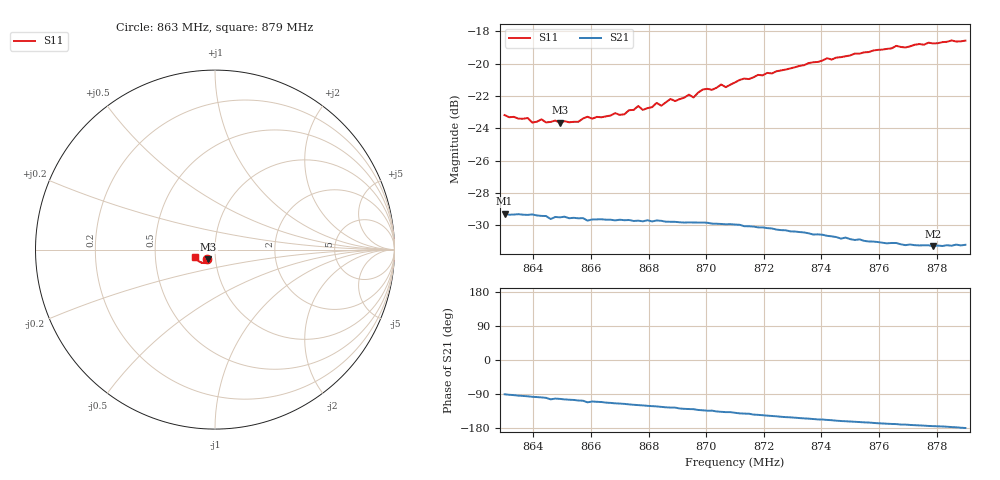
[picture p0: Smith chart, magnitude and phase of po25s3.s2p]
# HZ S RI R 50
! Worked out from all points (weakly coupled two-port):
!   101 points, 863 MHz to 879 MHz, reference 50 ohm
!   highest |S21| = -29.28 dB at 863 MHz (marker M1); lowest = -31.3 dB at 877.88 MHz (marker M2)
!   lowest |S11| = -23.7 dB at 864.92 MHz (marker M3), VSWR 1.14, Z = 46.2 - j5.08 ohm
!   |S11| at or under -10 dB: start of sweep to end of sweep
!   S12 and S22 are empty: the file has one direction only
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8.63e8  -0.0443 -0.0533  -0.000295 -0.0343  0 0  0 0
8.638e8  -0.0408 -0.0543  -0.00343 -0.0339  0 0  0 0
8.6396e8  -0.038 -0.0537  -0.00424 -0.0339  0 0  0 0
8.6428e8  -0.0383 -0.0553  -0.00514 -0.0334  0 0  0 0
8.6492e8  -0.0363 -0.0547  -0.00731 -0.0327  0 0  0 0
8.6572e8  -0.034 -0.0585  -0.00998 -0.0318  0 0  0 0
8.6716e8  -0.0339 -0.0609  -0.0143 -0.0295  0 0  0 0
8.6764e8  -0.0365 -0.0644  -0.0159 -0.0286  0 0  0 0
8.678e8  -0.0358 -0.0624  -0.0162 -0.0282  0 0  0 0
8.6828e8  -0.0365 -0.0662  -0.0176 -0.0276  0 0  0 0
8.6844e8  -0.036 -0.0648  -0.0181 -0.0272  0 0  0 0
8.6876e8  -0.0376 -0.0681  -0.0189 -0.0264  0 0  0 0
8.6892e8  -0.0362 -0.0675  -0.0189 -0.0264  0 0  0 0
8.694e8  -0.0398 -0.0696  -0.0205 -0.025  0 0  0 0
8.6956e8  -0.0389 -0.0683  -0.0207 -0.0248  0 0  0 0
8.6988e8  -0.0428 -0.0713  -0.0219 -0.0237  0 0  0 0
8.7068e8  -0.044 -0.0723  -0.0235 -0.0215  0 0  0 0
8.71e8  -0.0473 -0.0736  -0.0241 -0.0208  0 0  0 0
8.7372e8  -0.0676 -0.0751  -0.027 -0.0122  0 0  0 0
8.7644e8  -0.0924 -0.0624  -0.0274 -0.00544  0 0  0 0
8.7788e8  -0.104 -0.0501  -0.0271 -0.00261  0 0  0 0
8.79e8  -0.1107 -0.0404  -0.0275 -0.000246  0 0  0 0
